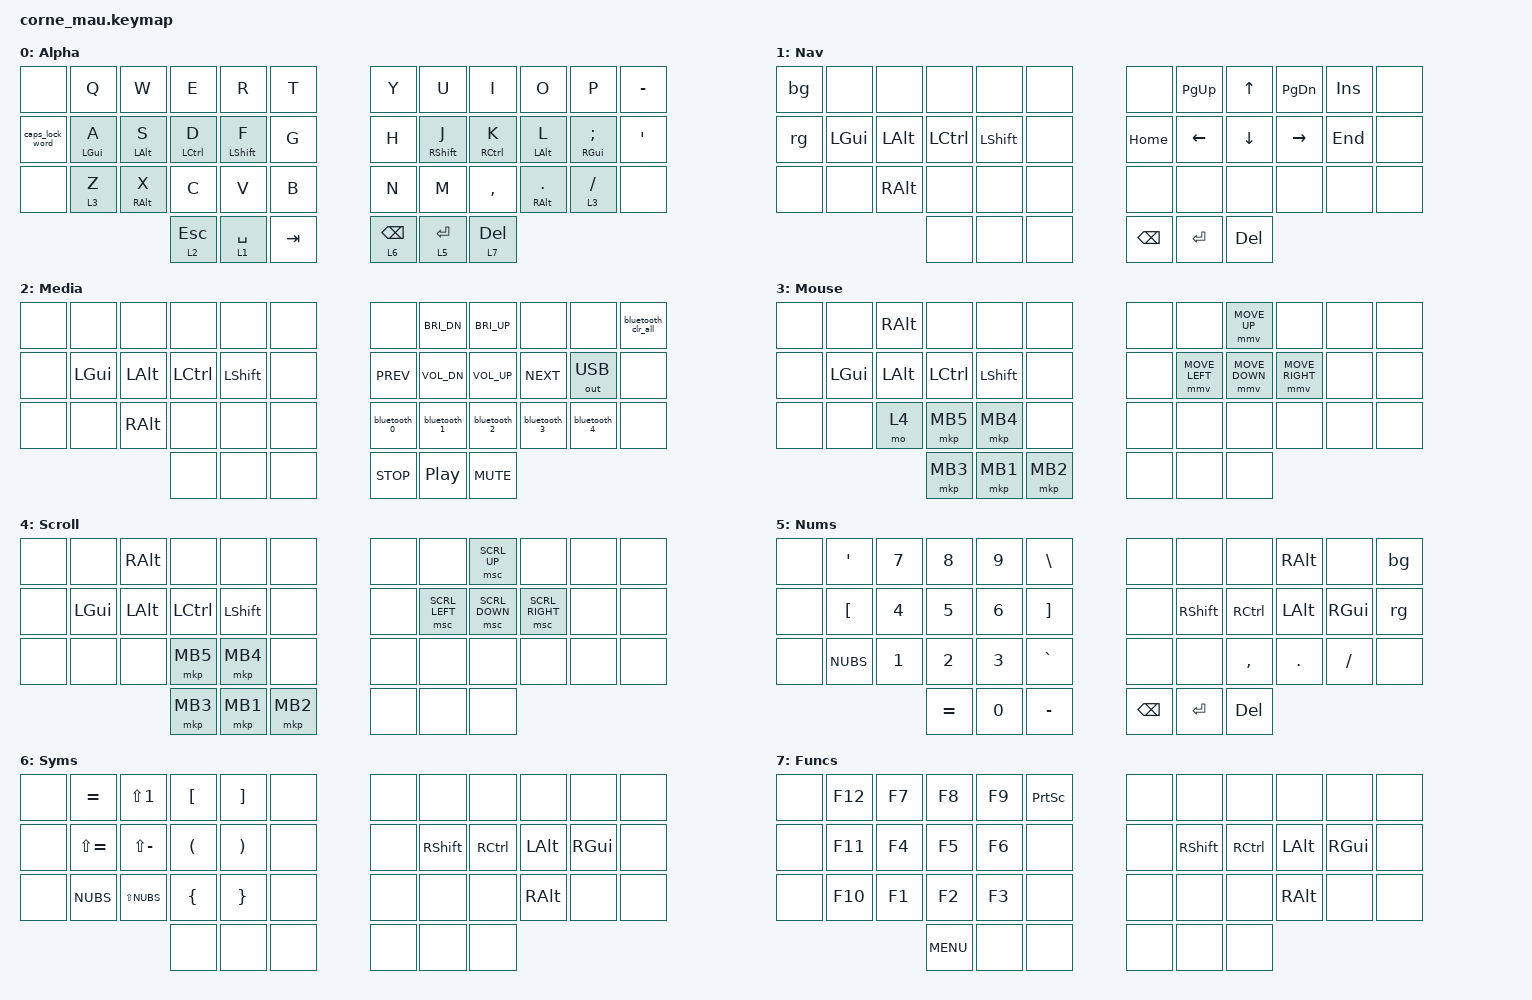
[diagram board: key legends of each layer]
/*
 * Copyright (c) 2020 The ZMK Contributors
 *
 * SPDX-License-Identifier: MIT
 */

#include <behaviors.dtsi>
#include <dt-bindings/zmk/bt.h>
#include <dt-bindings/zmk/keys.h>
#include <dt-bindings/zmk/outputs.h>
#include <dt-bindings/zmk/pointing.h>
#include <input/processors.dtsi>
#include <dt-bindings/zmk/input_transform.h>
#include <zephyr/dt-bindings/input/input-event-codes.h>

/ {
    input_processors {
        zip_click_to_right_click_mapper: zip_click_to_right_click_mapper {
            compatible = "zmk,input-processor-code-mapper";
            #input-processor-cells = <0>;
            type = <INPUT_EV_KEY>;
            map = <INPUT_BTN_0 INPUT_BTN_1>;
        };
    };
};

/ {
    macros {
        bt_0: bt_0 {
            compatible = "zmk,behavior-macro";
            #binding-cells = <0>;
            bindings = <&out OUT_BLE &bt BT_SEL 0>;
        };

        bt_1: bt_1 {
            compatible = "zmk,behavior-macro";
            #binding-cells = <0>;
            bindings = <&out OUT_BLE &bt BT_SEL 1>;
        };

        bt_2: bt_2 {
            compatible = "zmk,behavior-macro";
            #binding-cells = <0>;
            bindings = <&out OUT_BLE &bt BT_SEL 2>;
        };

        bt_3: bt_3 {
            compatible = "zmk,behavior-macro";
            #binding-cells = <0>;
            bindings = <&out OUT_BLE &bt BT_SEL 3>;
        };

        bt_4: bt_4 {
            compatible = "zmk,behavior-macro";
            #binding-cells = <0>;
            bindings = <&out OUT_BLE &bt BT_SEL 4>;
        };
    };

    behaviors {
        bg: bg {
            compatible = "zmk,behavior-tap-dance";
            #binding-cells = <0>;
            bindings = <&none>, <&bootloader>;
        };

        rg: rg {
            compatible = "zmk,behavior-tap-dance";
            #binding-cells = <0>;
            bindings = <&none>, <&sys_reset>;
        };

        home_row_mod: home_row_mod {
            compatible = "zmk,behavior-hold-tap";
            bindings = <&kp>, <&kp>;

            #binding-cells = <2>;
            tapping-term-ms = <200>;
            quick-tap-ms = <0>;
            require-prior-idle-ms = <150>;
            flavor = "tap-preferred";
        };

        home_row_layer: home_row_layer {
            compatible = "zmk,behavior-hold-tap";
            bindings = <&mo>, <&kp>;

            #binding-cells = <2>;
            tapping-term-ms = <200>;
            quick-tap-ms = <0>;
            require-prior-idle-ms = <150>;
            flavor = "tap-preferred";
        };

        layer_tap_quick: layer_tap_quick {
            compatible = "zmk,behavior-hold-tap";
            bindings = <&mo>, <&kp>;

            #binding-cells = <2>;
            tapping-term-ms = <200>;
            quick-tap-ms = <0>;
            require-prior-idle-ms = <0>;
        };

        caps_lock_word: caps_lock_word {
            compatible = "zmk,behavior-mod-morph";
            bindings = <&kp CAPS>, <&caps_word>;

            #binding-cells = <0>;
            mods = <(MOD_LSFT|MOD_RSFT)>;
        };

        bluetooth_0: bluetooth_0 {
            compatible = "zmk,behavior-tap-dance";
            #binding-cells = <0>;
            bindings = <&bt_0>, <&bt BT_DISC 0>;
        };

        bluetooth_1: bluetooth_1 {
            compatible = "zmk,behavior-tap-dance";
            #binding-cells = <0>;
            bindings = <&bt_1>, <&bt BT_DISC 1>;
        };

        bluetooth_2: bluetooth_2 {
            compatible = "zmk,behavior-tap-dance";
            #binding-cells = <0>;
            bindings = <&bt_2>, <&bt BT_DISC 2>;
        };

        bluetooth_3: bluetooth_3 {
            compatible = "zmk,behavior-tap-dance";
            #binding-cells = <0>;
            bindings = <&bt_3>, <&bt BT_DISC 3>;
        };

        bluetooth_4: bluetooth_4 {
            compatible = "zmk,behavior-tap-dance";
            #binding-cells = <0>;
            bindings = <&bt_4>, <&bt BT_DISC 4>;
        };

        bluetooth_clr_all: bluetooth_clr_all {
            compatible = "zmk,behavior-tap-dance";
            #binding-cells = <0>;
            bindings = <&bt BT_CLR>, <&bt BT_CLR_ALL>;
        };
    };

    keymap {
        compatible = "zmk,keymap";

        Alpha {
            bindings = <
&none            &kp Q                 &kp W                 &kp E                      &kp R                     &kp T      &kp Y                         &kp U                     &kp I                      &kp O                        &kp P                    &kp MINUS
&caps_lock_word  &home_row_mod LGUI A  &home_row_mod LALT S  &home_row_mod LCTRL D      &home_row_mod LSHFT F     &kp G      &kp H                         &home_row_mod RSHFT J     &home_row_mod RCTRL K      &home_row_mod LALT L         &home_row_mod RGUI SEMI  &kp SQT
&none            &home_row_layer 3 Z   &home_row_mod RALT X  &kp C                      &kp V                     &kp B      &kp N                         &kp M                     &kp COMMA                  &home_row_mod RIGHT_ALT DOT  &home_row_layer 3 FSLH   &none
                                                             &layer_tap_quick 2 ESCAPE  &layer_tap_quick 1 SPACE  &kp TAB    &layer_tap_quick 6 BACKSPACE  &layer_tap_quick 5 ENTER  &layer_tap_quick 7 DELETE
            >;
            display-name="Alpha";
        };

        Nav {
            bindings = <
&bg    &none     &none     &none      &none      &none    &none          &kp PAGE_UP  &kp UP_ARROW    &kp PAGE_DOWN  &kp INSERT  &none
&rg    &kp LGUI  &kp LALT  &kp LCTRL  &kp LSHFT  &none    &kp HOME       &kp LEFT     &kp DOWN_ARROW  &kp RIGHT      &kp END     &none
&none  &none     &kp RALT  &none      &none      &none    &none          &none        &none           &none          &none       &none
                           &none      &none      &none    &kp BACKSPACE  &kp RET      &kp DELETE
            >;
            display-name="Nav";
        };

        Media {
            bindings = <
&none  &none     &none     &none      &none      &none    &none         &kp C_BRI_DN      &kp C_BRI_UP     &none         &none         &bluetooth_clr_all
&none  &kp LGUI  &kp LALT  &kp LCTRL  &kp LSHFT  &none    &kp C_PREV    &kp C_VOL_DN      &kp C_VOLUME_UP  &kp C_NEXT    &out OUT_USB  &none
&none  &none     &kp RALT  &none      &none      &none    &bluetooth_0  &bluetooth_1      &bluetooth_2     &bluetooth_3  &bluetooth_4  &none
                           &none      &none      &none    &kp C_STOP    &kp C_PLAY_PAUSE  &kp C_MUTE
            >;
            display-name="Media";
        };

        Mouse {
            bindings = <
&none  &none     &kp RALT  &none      &none      &none       &none  &none           &mmv MOVE_UP    &none            &none  &none
&none  &kp LGUI  &kp LALT  &kp LCTRL  &kp LSHFT  &none       &none  &mmv MOVE_LEFT  &mmv MOVE_DOWN  &mmv MOVE_RIGHT  &none  &none
&none  &none     &mo 4     &mkp MB5   &mkp MB4   &none       &none  &none           &none           &none            &none  &none
                           &mkp MB3   &mkp MB1   &mkp MB2    &none  &none           &none
            >;
            display-name="Mouse";
        };

        Scroll {
            bindings = <
&none  &none     &kp RALT  &none      &none      &none       &none  &none           &msc SCRL_UP    &none            &none  &none
&none  &kp LGUI  &kp LALT  &kp LCTRL  &kp LSHFT  &none       &none  &msc SCRL_LEFT  &msc SCRL_DOWN  &msc SCRL_RIGHT  &none  &none
&none  &none     &none     &mkp MB5   &mkp MB4   &none       &none  &none           &none           &none            &none  &none
                           &mkp MB3   &mkp MB1   &mkp MB2    &none  &none           &none
            >;
            display-name="Scroll";
        };

        Numbers {
            bindings = <
&none  &kp APOS  &kp N7        &kp N8        &kp N9        &kp BSLH     &none          &none      &none       &kp RALT  &none     &bg
&none  &kp LBKT  &kp NUMBER_4  &kp N5        &kp N6        &kp RBKT     &none          &kp RSHFT  &kp RCTRL   &kp LALT  &kp RGUI  &rg
&none  &kp NUBS  &kp NUMBER_1  &kp NUMBER_2  &kp NUMBER_3  &kp GRAVE    &none          &none      &kp COMMA   &kp DOT   &kp FSLH  &none
                               &kp EQUAL     &kp N0        &kp MINUS    &kp BACKSPACE  &kp ENTER  &kp DELETE
            >;
            display-name="Nums";
        };

        Symbols {
            bindings = <
&none  &kp EQUAL      &kp LS(NUMBER_1)  &kp LEFT_BRACKET      &kp RIGHT_BRACKET      &none    &none  &none      &none      &none     &none     &none
&none  &kp LS(EQUAL)  &kp LS(MINUS)     &kp LEFT_PARENTHESIS  &kp RIGHT_PARENTHESIS  &none    &none  &kp RSHFT  &kp RCTRL  &kp LALT  &kp RGUI  &none
&none  &kp NUBS       &kp LS(NUBS)      &kp LEFT_BRACE        &kp RIGHT_BRACE        &none    &none  &none      &none      &kp RALT  &none     &none
                                        &none                 &none                  &none    &none  &none      &none
            >;
            display-name="Syms";
        };

        Fun {
            bindings = <
&none  &kp F12  &kp F7  &kp F8      &kp F9  &kp PRINTSCREEN    &none  &none      &none      &none     &none     &none
&none  &kp F11  &kp F4  &kp F5      &kp F6  &none              &none  &kp RSHFT  &kp RCTRL  &kp LALT  &kp RGUI  &none
&none  &kp F10  &kp F1  &kp F2      &kp F3  &none              &none  &none      &none      &kp RALT  &none     &none
                        &kp C_MENU  &none   &none              &none  &none      &none
            >;
            display-name="Funcs";
        };
    };
};

&glidepoint_listener {
    scroller {
        layers = <1 4>;
        input-processors = <&zip_xy_to_scroll_mapper>,
                           <&zip_scroll_transform(INPUT_TRANSFORM_Y_INVERT)>,
                           <&zip_scroll_scaler 1 4>,
                           <&zip_click_to_right_click_mapper>;
    };
};
